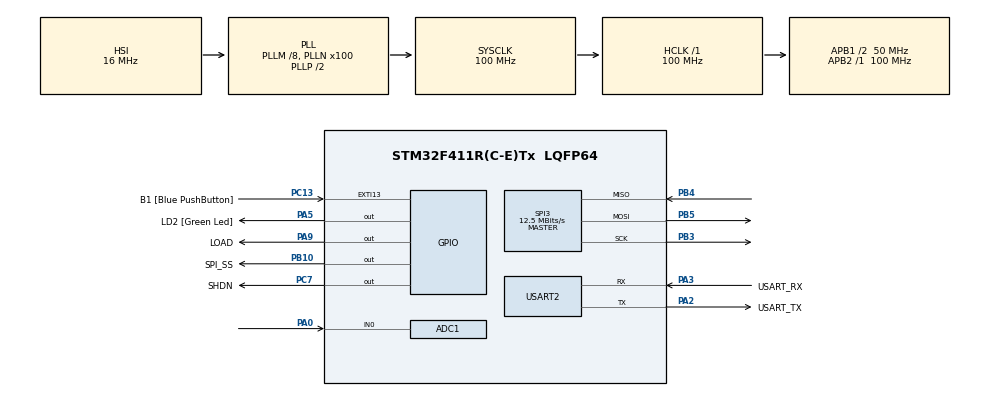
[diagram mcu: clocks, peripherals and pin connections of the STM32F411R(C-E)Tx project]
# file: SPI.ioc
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ADC1.Channel-0\#ChannelRegularConversion=ADC_CHANNEL_0
ADC1.DMAContinuousRequests=ENABLE
ADC1.ExternalTrigConv=ADC_EXTERNALTRIGCONV_T3_TRGO
ADC1.NbrOfConversionFlag=1
ADC1.Rank-0\#ChannelRegularConversion=1
ADC1.SamplingTime-0\#ChannelRegularConversion=ADC_SAMPLETIME_3CYCLES
ADC1.ScanConvMode=ENABLE
ADC1.master=1
ARM.CMSIS.5.6.0.CMSISJjCORE=true
ARM.CMSIS.5.6.0.CMSISJjDSP=Library
Dma.ADC1.0.Direction=DMA_PERIPH_TO_MEMORY
Dma.ADC1.0.FIFOMode=DMA_FIFOMODE_DISABLE
Dma.ADC1.0.Instance=DMA2_Stream0
Dma.ADC1.0.MemDataAlignment=DMA_MDATAALIGN_WORD
Dma.ADC1.0.MemInc=DMA_MINC_ENABLE
Dma.ADC1.0.Mode=DMA_CIRCULAR
Dma.ADC1.0.PeriphDataAlignment=DMA_PDATAALIGN_WORD
Dma.ADC1.0.PeriphInc=DMA_PINC_DISABLE
Dma.ADC1.0.Priority=DMA_PRIORITY_LOW
Dma.Request0=ADC1
Mcu.Family=STM32F4
Mcu.Name=STM32F411R(C-E)Tx
Mcu.Package=LQFP64
NVIC.ADC_IRQn=true\:0\:0\:false\:false\:true\:true\:true
NVIC.DMA2_Stream0_IRQn=true\:0\:0\:false\:false\:true\:false\:true
NVIC.PriorityGroup=NVIC_PRIORITYGROUP_0
NVIC.SPI3_IRQn=true\:0\:0\:false\:false\:true\:true\:true
NVIC.TIM1_TRG_COM_TIM11_IRQn=true\:0\:0\:false\:false\:true\:true\:true
PA0-WKUP.Signal=ADCx_IN0
PA13.GPIO_Label=TMS
PA13.Mode=Serial_Wire
PA13.Signal=SYS_JTMS-SWDIO
PA14.GPIO_Label=TCK
PA14.Mode=Serial_Wire
PA14.Signal=SYS_JTCK-SWCLK
PA2.GPIO_Label=USART_TX
PA2.Mode=Asynchronous
PA2.Signal=USART2_TX
PA3.GPIO_Label=USART_RX
PA3.Mode=Asynchronous
PA3.Signal=USART2_RX
PA5.GPIO_Label=LD2 [Green Led]
PA5.Signal=GPIO_Output
PA9.GPIO_Label=LOAD
PA9.Signal=GPIO_Output
PB10.GPIO_Label=SPI_SS
PB10.PinState=GPIO_PIN_SET
PB10.Signal=GPIO_Output
PB3.Mode=Full_Duplex_Master
PB3.Signal=SPI3_SCK
PB4.Mode=Full_Duplex_Master
PB4.Signal=SPI3_MISO
PB5.Mode=Full_Duplex_Master
PB5.Signal=SPI3_MOSI
PC13-ANTI_TAMP.GPIO_Label=B1 [Blue PushButton]
PC13-ANTI_TAMP.GPIO_ModeDefaultEXTI=GPIO_MODE_IT_FALLING
PC13-ANTI_TAMP.Signal=GPXTI13
PC14-OSC32_IN.Mode=LSE-External-Oscillator
PC14-OSC32_IN.Signal=RCC_OSC32_IN
PC15-OSC32_OUT.Mode=LSE-External-Oscillator
PC15-OSC32_OUT.Signal=RCC_OSC32_OUT
PC7.GPIO_Label=SHDN
PC7.PinState=GPIO_PIN_SET
PC7.Signal=GPIO_Output
PH0\ -\ OSC_IN.Mode=HSE-External-Clock-Source
PH0\ -\ OSC_IN.Signal=RCC_OSC_IN
PH1\ -\ OSC_OUT.Mode=HSE-External-Clock-Source
PH1\ -\ OSC_OUT.Signal=RCC_OSC_OUT
ProjectManager.HeapSize=0x200
ProjectManager.StackSize=0x400
ProjectManager.TargetToolchain=STM32CubeIDE
RCC.48MHZClocksFreq_Value=50000000
RCC.AHBFreq_Value=100000000
RCC.APB1CLKDivider=RCC_HCLK_DIV2
RCC.APB1Freq_Value=50000000
RCC.APB1TimFreq_Value=100000000
RCC.APB2Freq_Value=100000000
RCC.APB2TimFreq_Value=100000000
RCC.CortexFreq_Value=100000000
RCC.FLatency-AdvancedSettings=FLASH_LATENCY_3
RCC.HCLKFreq_Value=100000000
RCC.HSE_VALUE=8000000
RCC.HSI_VALUE=16000000
RCC.PLLM=8
RCC.PLLN=100
RCC.SYSCLKFreq_VALUE=100000000
RCC.SYSCLKSource=RCC_SYSCLKSOURCE_PLLCLK
RCC.VCOOutputFreq_Value=200000000
SH.ADCx_IN0.0=ADC1_IN0,IN0
SPI3.BaudRatePrescaler=SPI_BAUDRATEPRESCALER_4
SPI3.CalculateBaudRate=12.5 MBits/s
SPI3.DataSize=SPI_DATASIZE_16BIT
SPI3.Direction=SPI_DIRECTION_2LINES
SPI3.Mode=SPI_MODE_MASTER
SPI3.VirtualType=VM_MASTER
TIM11.Prescaler=99
TIM3.Period=100
TIM3.Prescaler=99
TIM3.TIM_MasterOutputTrigger=TIM_TRGO_UPDATE
USART2.VirtualMode=VM_ASYNC
VP_ARM.CMSIS_VS_CMSISJjCORE_5.3.0_5.6.0.Mode=CMSISJjCORE
VP_ARM.CMSIS_VS_CMSISJjDSP_1.7.0_5.6.0.Mode=CMSISJjDSP
VP_TIM11_VS_ClockSourceINT.Mode=Enable_Timer
VP_TIM3_VS_ClockSourceINT.Mode=Internal
board=NUCLEO-F411RE

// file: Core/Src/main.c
/* USER CODE BEGIN Header */
/**
 ******************************************************************************
 * @file           : main.c
 * @brief          : Main program body
 ******************************************************************************
 * @attention
 *
 * <h2><center>&copy; Copyright (c) 2021 STMicroelectronics.
 * All rights reserved.</center></h2>
 *
 * This software component is licensed by ST under BSD 3-Clause license,
 * the "License"; You may not use this file except in compliance with the
 * License. You may obtain a copy of the License at:
 *                        opensource.org/licenses/BSD-3-Clause
 *
 ******************************************************************************
 */
/* USER CODE END Header */
#include "main.h"

ADC_HandleTypeDef hadc1;
DMA_HandleTypeDef hdma_adc1;

SPI_HandleTypeDef hspi3;

TIM_HandleTypeDef htim3;
TIM_HandleTypeDef htim11;

UART_HandleTypeDef huart2;

/* USER CODE BEGIN PV */
uint16_t ADCin = 0;
uint64_t _micro = 0;
uint16_t dataOut = 0;
	uint8_t DACConfig = 0b0011;
/* USER CODE END PV */

void SystemClock_Config(void);
static void MX_GPIO_Init(void);
static void MX_USART2_UART_Init(void);
static void MX_ADC1_Init(void);
static void MX_SPI3_Init(void);
static void MX_TIM3_Init(void);
static void MX_DMA_Init(void);
static void MX_TIM11_Init(void);
/* USER CODE BEGIN PFP */
void MCP4922SetOutput(uint8_t Config, uint16_t DACOutput);
uint64_t micros();
/* USER CODE END PFP */

int main(void)
{

  /* MCU Configuration--------------------------------------------------------*/

  /* Reset of all peripherals, Initializes the Flash interface and the Systick. */
  HAL_Init();

  /* Configure the system clock */
  SystemClock_Config();

  /* Initialize all configured peripherals */
  MX_GPIO_Init();
  MX_USART2_UART_Init();
  MX_ADC1_Init();
  MX_SPI3_Init();
  MX_TIM3_Init();
  MX_DMA_Init();
  MX_TIM11_Init();
  /* USER CODE BEGIN 2 */
	HAL_TIM_Base_Start(&htim3);
	HAL_TIM_Base_Start_IT(&htim11);
	HAL_ADC_Start_DMA(&hadc1, (uint32_t*) &ADCin, 1);

	HAL_GPIO_WritePin(LOAD_GPIO_Port, LOAD_Pin, GPIO_PIN_RESET);
  /* USER CODE END 2 */

  /* Infinite loop */
  /* USER CODE BEGIN WHILE */
	while (1)
	{
		static uint64_t timestamp = 0;
		if (micros() - timestamp >244)
		{
			timestamp = micros();

			dataOut++;
			dataOut %= 4096;

			if (hspi3.State == HAL_SPI_STATE_READY&& HAL_GPIO_ReadPin(SPI_SS_GPIO_Port, SPI_SS_Pin)== GPIO_PIN_SET)
			{
				MCP4922SetOutput(DACConfig, dataOut);
			}
		}

//		if(micros()-timestamp<500000)
//		{
//			dataOut=4095;
//		}
//		else
//		{
//			dataOut=0;
//		}
//		if(micros()-timestamp>1000000)
//		{
//			timestamp=micros();
//		}
//		if (hspi3.State == HAL_SPI_STATE_READY&& HAL_GPIO_ReadPin(SPI_SS_GPIO_Port, SPI_SS_Pin)== GPIO_PIN_SET)
//		{
//			MCP4922SetOutput(DACConfig, dataOut);
//		}

//		dataOut=(sin(micros()*2*3.14/1000000)+1)*(4096/2);
//		if (hspi3.State == HAL_SPI_STATE_READY&& HAL_GPIO_ReadPin(SPI_SS_GPIO_Port, SPI_SS_Pin)== GPIO_PIN_SET)
//		{
//			MCP4922SetOutput(DACConfig, dataOut);
//		}

    /* USER CODE END WHILE */

	}
}

void SystemClock_Config(void)
{
  RCC_OscInitTypeDef RCC_OscInitStruct = {0};
  RCC_ClkInitTypeDef RCC_ClkInitStruct = {0};

  /** Configure the main internal regulator output voltage
  */
  __HAL_RCC_PWR_CLK_ENABLE();
  __HAL_PWR_VOLTAGESCALING_CONFIG(PWR_REGULATOR_VOLTAGE_SCALE1);
  /** Initializes the RCC Oscillators according to the specified parameters
  * in the RCC_OscInitTypeDef structure.
  */
  RCC_OscInitStruct.OscillatorType = RCC_OSCILLATORTYPE_HSI;
  RCC_OscInitStruct.HSIState = RCC_HSI_ON;
  RCC_OscInitStruct.HSICalibrationValue = RCC_HSICALIBRATION_DEFAULT;
  RCC_OscInitStruct.PLL.PLLState = RCC_PLL_ON;
  RCC_OscInitStruct.PLL.PLLSource = RCC_PLLSOURCE_HSI;
  RCC_OscInitStruct.PLL.PLLM = 8;
  RCC_OscInitStruct.PLL.PLLN = 100;
  RCC_OscInitStruct.PLL.PLLP = RCC_PLLP_DIV2;
  RCC_OscInitStruct.PLL.PLLQ = 4;
  if (HAL_RCC_OscConfig(&RCC_OscInitStruct) != HAL_OK)
  {
    Error_Handler();
  }
  /** Initializes the CPU, AHB and APB buses clocks
  */
  RCC_ClkInitStruct.ClockType = RCC_CLOCKTYPE_HCLK|RCC_CLOCKTYPE_SYSCLK
                              |RCC_CLOCKTYPE_PCLK1|RCC_CLOCKTYPE_PCLK2;
  RCC_ClkInitStruct.SYSCLKSource = RCC_SYSCLKSOURCE_PLLCLK;
  RCC_ClkInitStruct.AHBCLKDivider = RCC_SYSCLK_DIV1;
  RCC_ClkInitStruct.APB1CLKDivider = RCC_HCLK_DIV2;
  RCC_ClkInitStruct.APB2CLKDivider = RCC_HCLK_DIV1;

  if (HAL_RCC_ClockConfig(&RCC_ClkInitStruct, FLASH_LATENCY_3) != HAL_OK)
  {
    Error_Handler();
  }
}

static void MX_ADC1_Init(void)
{

  ADC_ChannelConfTypeDef sConfig = {0};

  /** Configure the global features of the ADC (Clock, Resolution, Data Alignment and number of conversion)
  */
  hadc1.Instance = ADC1;
  hadc1.Init.ClockPrescaler = ADC_CLOCK_SYNC_PCLK_DIV4;
  hadc1.Init.Resolution = ADC_RESOLUTION_12B;
  hadc1.Init.ScanConvMode = ENABLE;
  hadc1.Init.ContinuousConvMode = DISABLE;
  hadc1.Init.DiscontinuousConvMode = DISABLE;
  hadc1.Init.ExternalTrigConvEdge = ADC_EXTERNALTRIGCONVEDGE_RISING;
  hadc1.Init.ExternalTrigConv = ADC_EXTERNALTRIGCONV_T3_TRGO;
  hadc1.Init.DataAlign = ADC_DATAALIGN_RIGHT;
  hadc1.Init.NbrOfConversion = 1;
  hadc1.Init.DMAContinuousRequests = ENABLE;
  hadc1.Init.EOCSelection = ADC_EOC_SINGLE_CONV;
  if (HAL_ADC_Init(&hadc1) != HAL_OK)
  {
    Error_Handler();
  }
  /** Configure for the selected ADC regular channel its corresponding rank in the sequencer and its sample time.
  */
  sConfig.Channel = ADC_CHANNEL_0;
  sConfig.Rank = 1;
  sConfig.SamplingTime = ADC_SAMPLETIME_3CYCLES;
  if (HAL_ADC_ConfigChannel(&hadc1, &sConfig) != HAL_OK)
  {
    Error_Handler();
  }

}

static void MX_SPI3_Init(void)
{

  /* SPI3 parameter configuration*/
  hspi3.Instance = SPI3;
  hspi3.Init.Mode = SPI_MODE_MASTER;
  hspi3.Init.Direction = SPI_DIRECTION_2LINES;
  hspi3.Init.DataSize = SPI_DATASIZE_16BIT;
  hspi3.Init.CLKPolarity = SPI_POLARITY_LOW;
  hspi3.Init.CLKPhase = SPI_PHASE_1EDGE;
  hspi3.Init.NSS = SPI_NSS_SOFT;
  hspi3.Init.BaudRatePrescaler = SPI_BAUDRATEPRESCALER_4;
  hspi3.Init.FirstBit = SPI_FIRSTBIT_MSB;
  hspi3.Init.TIMode = SPI_TIMODE_DISABLE;
  hspi3.Init.CRCCalculation = SPI_CRCCALCULATION_DISABLE;
  hspi3.Init.CRCPolynomial = 10;
  if (HAL_SPI_Init(&hspi3) != HAL_OK)
  {
    Error_Handler();
  }

}

static void MX_TIM3_Init(void)
{

  TIM_ClockConfigTypeDef sClockSourceConfig = {0};
  TIM_MasterConfigTypeDef sMasterConfig = {0};

  htim3.Instance = TIM3;
  htim3.Init.Prescaler = 99;
  htim3.Init.CounterMode = TIM_COUNTERMODE_UP;
  htim3.Init.Period = 100;
  htim3.Init.ClockDivision = TIM_CLOCKDIVISION_DIV1;
  htim3.Init.AutoReloadPreload = TIM_AUTORELOAD_PRELOAD_DISABLE;
  if (HAL_TIM_Base_Init(&htim3) != HAL_OK)
  {
    Error_Handler();
  }
  sClockSourceConfig.ClockSource = TIM_CLOCKSOURCE_INTERNAL;
  if (HAL_TIM_ConfigClockSource(&htim3, &sClockSourceConfig) != HAL_OK)
  {
    Error_Handler();
  }
  sMasterConfig.MasterOutputTrigger = TIM_TRGO_UPDATE;
  sMasterConfig.MasterSlaveMode = TIM_MASTERSLAVEMODE_DISABLE;
  if (HAL_TIMEx_MasterConfigSynchronization(&htim3, &sMasterConfig) != HAL_OK)
  {
    Error_Handler();
  }

}

static void MX_TIM11_Init(void)
{

  htim11.Instance = TIM11;
  htim11.Init.Prescaler = 99;
  htim11.Init.CounterMode = TIM_COUNTERMODE_UP;
  htim11.Init.Period = 65535;
  htim11.Init.ClockDivision = TIM_CLOCKDIVISION_DIV1;
  htim11.Init.AutoReloadPreload = TIM_AUTORELOAD_PRELOAD_DISABLE;
  if (HAL_TIM_Base_Init(&htim11) != HAL_OK)
  {
    Error_Handler();
  }

}

static void MX_USART2_UART_Init(void)
{

  huart2.Instance = USART2;
  huart2.Init.BaudRate = 115200;
  huart2.Init.WordLength = UART_WORDLENGTH_8B;
  huart2.Init.StopBits = UART_STOPBITS_1;
  huart2.Init.Parity = UART_PARITY_NONE;
  huart2.Init.Mode = UART_MODE_TX_RX;
  huart2.Init.HwFlowCtl = UART_HWCONTROL_NONE;
  huart2.Init.OverSampling = UART_OVERSAMPLING_16;
  if (HAL_UART_Init(&huart2) != HAL_OK)
  {
    Error_Handler();
  }

}

static void MX_DMA_Init(void)
{

  /* DMA controller clock enable */
  __HAL_RCC_DMA2_CLK_ENABLE();

  /* DMA interrupt init */
  /* DMA2_Stream0_IRQn interrupt configuration */
  HAL_NVIC_SetPriority(DMA2_Stream0_IRQn, 0, 0);
  HAL_NVIC_EnableIRQ(DMA2_Stream0_IRQn);

}

static void MX_GPIO_Init(void)
{
  GPIO_InitTypeDef GPIO_InitStruct = {0};

  /* GPIO Ports Clock Enable */
  __HAL_RCC_GPIOC_CLK_ENABLE();
  __HAL_RCC_GPIOH_CLK_ENABLE();
  __HAL_RCC_GPIOA_CLK_ENABLE();
  __HAL_RCC_GPIOB_CLK_ENABLE();

  /*Configure GPIO pin Output Level */
  HAL_GPIO_WritePin(GPIOA, LD2_Pin|LOAD_Pin, GPIO_PIN_RESET);

  /*Configure GPIO pin Output Level */
  HAL_GPIO_WritePin(SPI_SS_GPIO_Port, SPI_SS_Pin, GPIO_PIN_SET);

  /*Configure GPIO pin Output Level */
  HAL_GPIO_WritePin(SHDN_GPIO_Port, SHDN_Pin, GPIO_PIN_SET);

  /*Configure GPIO pin : B1_Pin */
  GPIO_InitStruct.Pin = B1_Pin;
  GPIO_InitStruct.Mode = GPIO_MODE_IT_FALLING;
  GPIO_InitStruct.Pull = GPIO_NOPULL;
  HAL_GPIO_Init(B1_GPIO_Port, &GPIO_InitStruct);

  /*Configure GPIO pins : LD2_Pin LOAD_Pin */
  GPIO_InitStruct.Pin = LD2_Pin|LOAD_Pin;
  GPIO_InitStruct.Mode = GPIO_MODE_OUTPUT_PP;
  GPIO_InitStruct.Pull = GPIO_NOPULL;
  GPIO_InitStruct.Speed = GPIO_SPEED_FREQ_LOW;
  HAL_GPIO_Init(GPIOA, &GPIO_InitStruct);

  /*Configure GPIO pin : SPI_SS_Pin */
  GPIO_InitStruct.Pin = SPI_SS_Pin;
  GPIO_InitStruct.Mode = GPIO_MODE_OUTPUT_PP;
  GPIO_InitStruct.Pull = GPIO_NOPULL;
  GPIO_InitStruct.Speed = GPIO_SPEED_FREQ_LOW;
  HAL_GPIO_Init(SPI_SS_GPIO_Port, &GPIO_InitStruct);

  /*Configure GPIO pin : SHDN_Pin */
  GPIO_InitStruct.Pin = SHDN_Pin;
  GPIO_InitStruct.Mode = GPIO_MODE_OUTPUT_PP;
  GPIO_InitStruct.Pull = GPIO_NOPULL;
  GPIO_InitStruct.Speed = GPIO_SPEED_FREQ_LOW;
  HAL_GPIO_Init(SHDN_GPIO_Port, &GPIO_InitStruct);

}

/* USER CODE BEGIN 4 */
void MCP4922SetOutput(uint8_t Config, uint16_t DACOutput)
{
	uint32_t OutputPacket = (DACOutput & 0x0fff) | ((Config & 0xf) << 12);
	HAL_GPIO_WritePin(SPI_SS_GPIO_Port, SPI_SS_Pin, GPIO_PIN_RESET);
	HAL_SPI_Transmit_IT(&hspi3, &OutputPacket, 1);
}

void HAL_SPI_TxCpltCallback(SPI_HandleTypeDef *hspi)
{
	if (hspi == &hspi3)
	{
		HAL_GPIO_WritePin(SPI_SS_GPIO_Port, SPI_SS_Pin, GPIO_PIN_SET);
	}
}

void HAL_TIM_PeriodElapsedCallback(TIM_HandleTypeDef *htim)
{
	if (htim == &htim11)
	{
		_micro += 65535;
	}
}

inline uint64_t micros()
{
	return htim11.Instance->CNT + _micro;
}
/* USER CODE END 4 */

void Error_Handler(void)
{
	__disable_irq();
	while (1)
	{
	}
}
